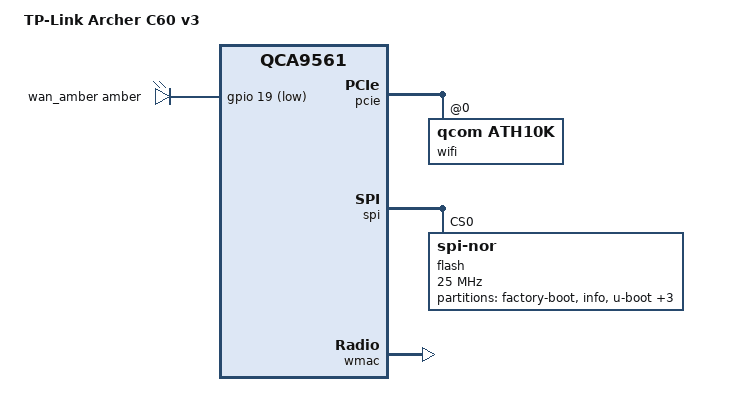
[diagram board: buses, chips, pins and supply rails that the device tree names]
// SPDX-License-Identifier: GPL-2.0-or-later OR MIT

#include <dt-bindings/leds/common.h>

#include "qca9561_tplink_archer-c6x.dtsi"

/ {
	compatible = "tplink,archer-c60-v3", "qca,qca9561";
	model = "TP-Link Archer C60 v3";

	aliases {
		label-mac-device = &eth1;
	};
};

&leds {
	wan_amber {
		function = LED_FUNCTION_WAN;
		color = <LED_COLOR_ID_AMBER>;
		gpios = <&gpio 19 GPIO_ACTIVE_LOW>;
	};
};

&pcie {
	wifi@0,0 {
		compatible = "qcom,ath10k";
		reg = <0x0000 0 0 0 0>;
		nvmem-cells = <&precal_art_5000>, <&macaddr_info_8 (-1)>;
		nvmem-cell-names = "pre-calibration", "mac-address";
	};
};

&spi {
	status = "okay";

	flash@0 {
		compatible = "jedec,spi-nor";
		reg = <0>;
		spi-max-frequency = <25000000>;

		partitions {
			compatible = "fixed-partitions";
			#address-cells = <1>;
			#size-cells = <1>;

			partition@0 {
				label = "factory-boot";
				reg = <0x000000 0x01fb00>;
				read-only;
			};

			info: partition@1fb00 {
				label = "info";
				reg = <0x01fb00 0x000500>;
				read-only;

				nvmem-layout {
					compatible = "fixed-layout";
					#address-cells = <1>;
					#size-cells = <1>;

					macaddr_info_8: macaddr@8 {
						compatible = "mac-base";
						reg = <0x8 0x6>;
						#nvmem-cell-cells = <1>;
					};
				};
			};

			partition@20000 {
				label = "u-boot";
				reg = <0x020000 0x010000>;
				read-only;
			};

			partition@30000 {
				compatible = "denx,uimage";
				label = "firmware";
				reg = <0x030000 0x7a0000>;
			};

			partition@7d0000 {
				label = "tplink";
				reg = <0x7d0000 0x020000>;
				read-only;
			};

			art: partition@7f0000 {
				label = "art";
				reg = <0x7f0000 0x010000>;
				read-only;

				nvmem-layout {
					compatible = "fixed-layout";
					#address-cells = <1>;
					#size-cells = <1>;

					precal_art_5000: pre-calibration@5000 {
						reg = <0x5000 0x2f20>;
					};
				};
			};
		};
	};
};

&eth0 {
	nvmem-cells = <&macaddr_info_8 1>;
	nvmem-cell-names = "mac-address";
};

&eth1 {
	nvmem-cells = <&macaddr_info_8 0>;
	nvmem-cell-names = "mac-address";
};

&wmac {
	mtd-cal-data = <&art 0x1000>;

	nvmem-cells = <&macaddr_info_8 0>;
	nvmem-cell-names = "mac-address";
};
